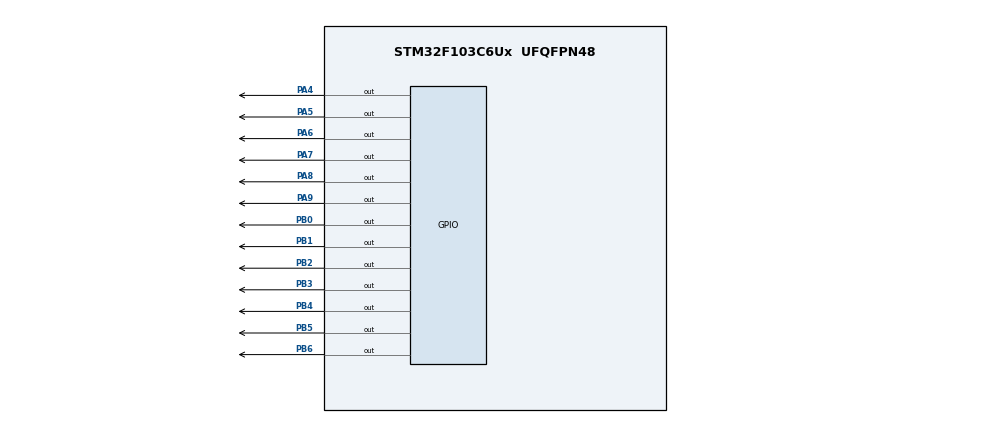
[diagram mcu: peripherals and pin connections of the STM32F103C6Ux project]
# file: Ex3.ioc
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Mcu.Family=STM32F1
Mcu.Name=STM32F103C6Ux
Mcu.Package=UFQFPN48
NVIC.PriorityGroup=NVIC_PRIORITYGROUP_4
NVIC.TIM2_IRQn=true\:0\:0\:false\:false\:true\:true\:true
PA4.Signal=GPIO_Output
PA5.Signal=GPIO_Output
PA6.Signal=GPIO_Output
PA7.Signal=GPIO_Output
PA8.Signal=GPIO_Output
PA9.Signal=GPIO_Output
PB0.Signal=GPIO_Output
PB1.Signal=GPIO_Output
PB2.Signal=GPIO_Output
PB3.Signal=GPIO_Output
PB4.Signal=GPIO_Output
PB5.Signal=GPIO_Output
PB6.Signal=GPIO_Output
ProjectManager.HeapSize=0x200
ProjectManager.StackSize=0x400
ProjectManager.TargetToolchain=STM32CubeIDE
RCC.APB1Freq_Value=8000000
RCC.APB2Freq_Value=8000000
TIM2.Period=9
TIM2.Prescaler=7999
VP_SYS_VS_ND.Mode=No_Debug
VP_TIM2_VS_ClockSourceINT.Mode=Internal
board=custom

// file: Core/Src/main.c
/* USER CODE BEGIN Header */
/**
  ******************************************************************************
  * @file           : main.c
  * @brief          : Main program body
  ******************************************************************************
  * @attention
  *
  * <h2><center>&copy; Copyright (c) 2022 STMicroelectronics.
  * All rights reserved.</center></h2>
  *
  * This software component is licensed by ST under BSD 3-Clause license,
  * the "License"; You may not use this file except in compliance with the
  * License. You may obtain a copy of the License at:
  *                        opensource.org/licenses/BSD-3-Clause
  *
  ******************************************************************************
  */
/* USER CODE END Header */
#include "main.h"

TIM_HandleTypeDef htim2;

void SystemClock_Config(void);
static void MX_GPIO_Init(void);
static void MX_TIM2_Init(void);

/* USER CODE BEGIN 0 */
int arr[10] = {
		0x00C0,  //0
		0x00F9,  //1
		0x00A4,  //2
		0x00B0,  //3
		0x0099,  //4
		0x0092,  //5
		0x0082,  //6
		0x00F8,  //7
		0x0080,  //8
		0x0090,  //9
};
void display_7segment(int number){
//	HAL_GPIO_WritePin(GPIOB,GPIO_PIN_0,(number>>0)&0x01);
//	HAL_GPIO_WritePin(GPIOB,GPIO_PIN_1,(number>>1)&0x01);
//	HAL_GPIO_WritePin(GPIOB,GPIO_PIN_2,(number>>2)&0x01);
//	HAL_GPIO_WritePin(GPIOB,GPIO_PIN_3,(number>>3)&0x01);
//	HAL_GPIO_WritePin(GPIOB,GPIO_PIN_4,(number>>4)&0x01);
//	HAL_GPIO_WritePin(GPIOB,GPIO_PIN_5,(number>>5)&0x01);
//	HAL_GPIO_WritePin(GPIOB,GPIO_PIN_6,(number>>6)&0x01);
	GPIOB->ODR = arr[number];
}
const int MAX_LED = 4;
int index_led = 3;
int led_buffer[4] = {0,3,6,9};
void update7SEG(int index){
	switch(index){
		case 0:
			display_7segment(led_buffer[0]);
			break;
		case 1:
			display_7segment(led_buffer[1]);
			break;
		case 2:
			display_7segment(led_buffer[2]);
			break;
		case 3:
			display_7segment(led_buffer[3]);
			break;
		default:
			break;
	}
}

/* USER CODE END 0 */

int main(void)
{

  /* MCU Configuration--------------------------------------------------------*/

  /* Reset of all peripherals, Initializes the Flash interface and the Systick. */
  HAL_Init();

  /* Configure the system clock */
  SystemClock_Config();

  /* Initialize all configured peripherals */
  MX_GPIO_Init();
  MX_TIM2_Init();
  /* USER CODE BEGIN 2 */
  HAL_TIM_Base_Start_IT (& htim2 ) ;

  /* USER CODE END 2 */

  /* Infinite loop */
  while (1)
  {

  }
}

void SystemClock_Config(void)
{
  RCC_OscInitTypeDef RCC_OscInitStruct = {0};
  RCC_ClkInitTypeDef RCC_ClkInitStruct = {0};

  /** Initializes the RCC Oscillators according to the specified parameters
  * in the RCC_OscInitTypeDef structure.
  */
  RCC_OscInitStruct.OscillatorType = RCC_OSCILLATORTYPE_HSI;
  RCC_OscInitStruct.HSIState = RCC_HSI_ON;
  RCC_OscInitStruct.HSICalibrationValue = RCC_HSICALIBRATION_DEFAULT;
  RCC_OscInitStruct.PLL.PLLState = RCC_PLL_NONE;
  if (HAL_RCC_OscConfig(&RCC_OscInitStruct) != HAL_OK)
  {
    Error_Handler();
  }
  /** Initializes the CPU, AHB and APB buses clocks
  */
  RCC_ClkInitStruct.ClockType = RCC_CLOCKTYPE_HCLK|RCC_CLOCKTYPE_SYSCLK
                              |RCC_CLOCKTYPE_PCLK1|RCC_CLOCKTYPE_PCLK2;
  RCC_ClkInitStruct.SYSCLKSource = RCC_SYSCLKSOURCE_HSI;
  RCC_ClkInitStruct.AHBCLKDivider = RCC_SYSCLK_DIV1;
  RCC_ClkInitStruct.APB1CLKDivider = RCC_HCLK_DIV1;
  RCC_ClkInitStruct.APB2CLKDivider = RCC_HCLK_DIV1;

  if (HAL_RCC_ClockConfig(&RCC_ClkInitStruct, FLASH_LATENCY_0) != HAL_OK)
  {
    Error_Handler();
  }
}

static void MX_TIM2_Init(void)
{

  TIM_ClockConfigTypeDef sClockSourceConfig = {0};
  TIM_MasterConfigTypeDef sMasterConfig = {0};

  htim2.Instance = TIM2;
  htim2.Init.Prescaler = 7999;
  htim2.Init.CounterMode = TIM_COUNTERMODE_UP;
  htim2.Init.Period = 9;
  htim2.Init.ClockDivision = TIM_CLOCKDIVISION_DIV1;
  htim2.Init.AutoReloadPreload = TIM_AUTORELOAD_PRELOAD_DISABLE;
  if (HAL_TIM_Base_Init(&htim2) != HAL_OK)
  {
    Error_Handler();
  }
  sClockSourceConfig.ClockSource = TIM_CLOCKSOURCE_INTERNAL;
  if (HAL_TIM_ConfigClockSource(&htim2, &sClockSourceConfig) != HAL_OK)
  {
    Error_Handler();
  }
  sMasterConfig.MasterOutputTrigger = TIM_TRGO_RESET;
  sMasterConfig.MasterSlaveMode = TIM_MASTERSLAVEMODE_DISABLE;
  if (HAL_TIMEx_MasterConfigSynchronization(&htim2, &sMasterConfig) != HAL_OK)
  {
    Error_Handler();
  }

}

static void MX_GPIO_Init(void)
{
  GPIO_InitTypeDef GPIO_InitStruct = {0};

  /* GPIO Ports Clock Enable */
  __HAL_RCC_GPIOA_CLK_ENABLE();
  __HAL_RCC_GPIOB_CLK_ENABLE();

  /*Configure GPIO pin Output Level */
  HAL_GPIO_WritePin(GPIOA, GPIO_PIN_4|GPIO_PIN_5|GPIO_PIN_6|GPIO_PIN_7
                          |GPIO_PIN_8|GPIO_PIN_9, GPIO_PIN_RESET);

  /*Configure GPIO pin Output Level */
  HAL_GPIO_WritePin(GPIOB, GPIO_PIN_0|GPIO_PIN_1|GPIO_PIN_2|GPIO_PIN_3
                          |GPIO_PIN_4|GPIO_PIN_5|GPIO_PIN_6, GPIO_PIN_RESET);

  /*Configure GPIO pins : PA4 PA5 PA6 PA7
                           PA8 PA9 */
  GPIO_InitStruct.Pin = GPIO_PIN_4|GPIO_PIN_5|GPIO_PIN_6|GPIO_PIN_7
                          |GPIO_PIN_8|GPIO_PIN_9;
  GPIO_InitStruct.Mode = GPIO_MODE_OUTPUT_PP;
  GPIO_InitStruct.Pull = GPIO_NOPULL;
  GPIO_InitStruct.Speed = GPIO_SPEED_FREQ_LOW;
  HAL_GPIO_Init(GPIOA, &GPIO_InitStruct);

  /*Configure GPIO pins : PB0 PB1 PB2 PB3
                           PB4 PB5 PB6 */
  GPIO_InitStruct.Pin = GPIO_PIN_0|GPIO_PIN_1|GPIO_PIN_2|GPIO_PIN_3
                          |GPIO_PIN_4|GPIO_PIN_5|GPIO_PIN_6;
  GPIO_InitStruct.Mode = GPIO_MODE_OUTPUT_PP;
  GPIO_InitStruct.Pull = GPIO_NOPULL;
  GPIO_InitStruct.Speed = GPIO_SPEED_FREQ_LOW;
  HAL_GPIO_Init(GPIOB, &GPIO_InitStruct);

}

/* USER CODE BEGIN 4 */
int cnt1 = 100,cnt2 = 0;
int en[4] = {1,1,1,0};
void HAL_TIM_PeriodElapsedCallback ( TIM_HandleTypeDef * htim ){
	cnt1--;
	cnt2--;
	if(cnt1 <= 0){
		cnt1 = 100;
		HAL_GPIO_TogglePin(GPIOA,GPIO_PIN_4);
		HAL_GPIO_TogglePin(GPIOA,GPIO_PIN_5);
	}
	if(cnt2 <= 0){
		cnt2 = 50;
		en[index_led] = 1;
		index_led = (index_led+1)%MAX_LED;
		en[index_led] = 0;
		HAL_GPIO_WritePin(GPIOA,GPIO_PIN_6,en[0]);
		HAL_GPIO_WritePin(GPIOA,GPIO_PIN_7,en[1]);
		HAL_GPIO_WritePin(GPIOA,GPIO_PIN_8,en[2]);
		HAL_GPIO_WritePin(GPIOA,GPIO_PIN_9,en[3]);
		update7SEG(index_led);
	}
}
/* USER CODE END 4 */

void Error_Handler(void)
{
  __disable_irq();
  while (1)
  {
  }
}

/************************ (C) COPYRIGHT STMicroelectronics *****END OF FILE****/
